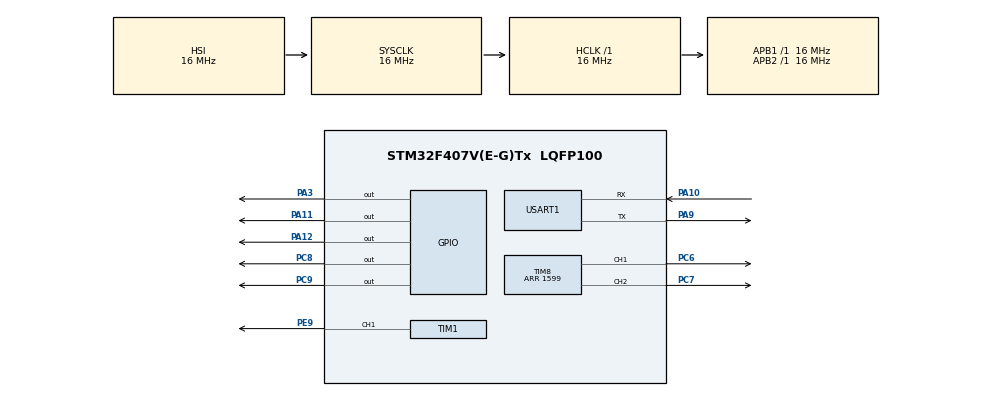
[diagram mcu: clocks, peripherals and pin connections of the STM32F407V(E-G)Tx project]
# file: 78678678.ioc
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Mcu.Family=STM32F4
Mcu.Name=STM32F407V(E-G)Tx
Mcu.Package=LQFP100
NVIC.PriorityGroup=NVIC_PRIORITYGROUP_4
NVIC.USART1_IRQn=true\:0\:0\:false\:false\:true\:true\:true\:true
PA10.Mode=Asynchronous
PA10.Signal=USART1_RX
PA11.Signal=GPIO_Output
PA12.Signal=GPIO_Output
PA13.Mode=Serial_Wire
PA13.Signal=SYS_JTMS-SWDIO
PA14.Mode=Serial_Wire
PA14.Signal=SYS_JTCK-SWCLK
PA3.Signal=GPIO_Output
PA9.Mode=Asynchronous
PA9.Signal=USART1_TX
PC6.Signal=S_TIM8_CH1
PC7.Signal=S_TIM8_CH2
PC8.Signal=GPIO_Output
PC9.Signal=GPIO_Output
PE9.Signal=S_TIM1_CH1
ProjectManager.HeapSize=0x200
ProjectManager.StackSize=0x400
ProjectManager.TargetToolchain=MDK-ARM V5.32
RCC.AHBFreq_Value=16000000
RCC.APB1Freq_Value=16000000
RCC.APB2Freq_Value=16000000
RCC.CortexFreq_Value=16000000
RCC.HSE_VALUE=25000000
RCC.HSI_VALUE=16000000
RCC.LSE_VALUE=32768
RCC.SYSCLKFreq_VALUE=16000000
RCC.VCOOutputFreq_Value=192000000
SH.S_TIM1_CH1.0=TIM1_CH1,PWM Generation1 CH1
SH.S_TIM8_CH1.0=TIM8_CH1,PWM Generation1 CH1
SH.S_TIM8_CH2.0=TIM8_CH2,PWM Generation2 CH2
TIM1.AutoReloadPreload=TIM_AUTORELOAD_PRELOAD_ENABLE
TIM1.Channel-PWM\ Generation1\ CH1=TIM_CHANNEL_1
TIM1.Period=19999
TIM1.Prescaler=15
TIM8.AutoReloadPreload=TIM_AUTORELOAD_PRELOAD_ENABLE
TIM8.Channel-PWM\ Generation1\ CH1=TIM_CHANNEL_1
TIM8.Channel-PWM\ Generation2\ CH2=TIM_CHANNEL_2
TIM8.Period=1599
USART1.VirtualMode=VM_ASYNC
VP_TIM1_VS_ClockSourceINT.Mode=Internal
VP_TIM8_VS_ClockSourceINT.Mode=Internal
board=custom

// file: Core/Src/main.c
/* USER CODE BEGIN Header */
/**
  ******************************************************************************
  * @file           : main.c
  * @brief          : STM32F4 car controller with text and 0x42 binary protocols
  ******************************************************************************
  * Binary protocol: 0x42 header + address + total length + payload + checksum
  * Car control: ADDR=1, total length=10 (header/address/length/speed/servo/checksum)
  * Heartbeat: ADDR=0, total length=4
  ******************************************************************************
  */
/* USER CODE END Header */
#include "main.h"

/* USER CODE BEGIN Includes */
#include <stdio.h>
#include <stdlib.h>
#include <string.h>
/* USER CODE END Includes */

/* USER CODE BEGIN PTD */
#define USB_FRAME_HEAD     0x42
#define USB_FRAME_LENMIN   4
#define USB_FRAME_LENMAX   12
#define USB_ADDR_CARCTRL   1
#define USB_ADDR_BUZZER    4
#define USB_ADDR_HEART     0

typedef struct
{
    uint8_t recvStart;
    uint8_t index;
    uint8_t rxBuf[USB_FRAME_LENMAX];
}SerialFrame_t;

// Byte conversion helpers for 32-bit and 16-bit values
typedef union{
    uint8_t buff[4];
    float   f32;
    int32_t i32;
}Bit32Union_t;

typedef union{
    uint8_t buff[2];
    uint16_t u16;
    int16_t  i16;
}Bit16Union_t;
/* USER CODE END PTD */

/* USER CODE BEGIN PD */
#define MAX_SPEED_PERCENT 100
#define PWM_TIM8_PERIOD   1600
#define PWM_TIM1_PERIOD   20000
#define SERVO_MIN_PULSE   500
#define SERVO_MAX_PULSE   2500
#define UART_TX_DELAY     100
#define UART_RX_QUEUE_SIZE 128

#define STEER_INPUT_MIN  -50
#define STEER_INPUT_MAX   50
#define SERVO_ANG_LEFT_LIMIT  140
#define SERVO_ANG_RIGHT_LIMIT 40
#define SERVO_ANG_MID         90
/* USER CODE END PD */

TIM_HandleTypeDef htim1;
TIM_HandleTypeDef htim8;

UART_HandleTypeDef huart1;

/* USER CODE BEGIN PV */
// Text M/T command buffer
uint8_t rx_buffer[32];
uint8_t rx_index = 0;
uint8_t rx_data;
volatile uint8_t uart_rx_queue[UART_RX_QUEUE_SIZE];
volatile uint16_t uart_rx_head = 0;
volatile uint16_t uart_rx_tail = 0;
volatile uint8_t uart_rx_overflow = 0;

// Binary frame parser state
SerialFrame_t serialFrame;

// Current car state
int16_t current_speed = 0;
int16_t current_steer_input = 0;
uint16_t current_angle = 90;
uint16_t servoPwmSet = 1500;

// Motor driver pins
#define LEFT_MOTOR_IN1_PIN  GPIO_PIN_11
#define LEFT_MOTOR_IN2_PIN  GPIO_PIN_12
#define LEFT_MOTOR_IN1_PORT GPIOA
#define LEFT_MOTOR_IN2_PORT GPIOA

#define RIGHT_MOTOR_IN1_PIN  GPIO_PIN_8
#define RIGHT_MOTOR_IN2_PIN  GPIO_PIN_9
#define RIGHT_MOTOR_IN1_PORT GPIOC
#define RIGHT_MOTOR_IN2_PORT GPIOC

// PWM channels
#define LEFT_PWM_CHANNEL   TIM_CHANNEL_1
#define RIGHT_PWM_CHANNEL  TIM_CHANNEL_2
#define SERVO_PWM_CHANNEL  TIM_CHANNEL_1

// Startup message
uint8_t init_ok_msg[] = "\r\n==== Car Init OK ====\r\nText Cmd:Mxx/Txx\r\nBinary Frame Head=0x42\r\nTest Frame:42 01 0A 00 00 00 00 DC 05 00\r\n";
/* USER CODE END PV */

void SystemClock_Config(void);
static void MX_GPIO_Init(void);
static void MX_TIM1_Init(void);
static void MX_TIM8_Init(void);
static void MX_USART1_UART_Init(void);
/* USER CODE BEGIN PFP */
void set_motor_speed(int16_t speed_percent);
void set_servo_steer(int16_t steer_val);
void set_servo_by_pwm(uint16_t pwmUs);
void process_command(char *cmd);
void SerialFrameParse(uint8_t byte);
void FrameDataHandle(void);
void process_received_byte(uint8_t byte);
void reset_protocol_parsers(void);
/* USER CODE END PFP */

/* USER CODE BEGIN 0 */
void set_motor_speed(int16_t speed_percent)
{
    if (speed_percent > MAX_SPEED_PERCENT) speed_percent = MAX_SPEED_PERCENT;
    if (speed_percent < -MAX_SPEED_PERCENT) speed_percent = -MAX_SPEED_PERCENT;
    uint16_t duty = (uint16_t)(abs(speed_percent) * (PWM_TIM8_PERIOD - 1) / MAX_SPEED_PERCENT);

    if (speed_percent > 0)
    {
        HAL_GPIO_WritePin(LEFT_MOTOR_IN1_PORT, LEFT_MOTOR_IN1_PIN, GPIO_PIN_SET);
        HAL_GPIO_WritePin(LEFT_MOTOR_IN2_PORT, LEFT_MOTOR_IN2_PIN, GPIO_PIN_RESET);
        HAL_GPIO_WritePin(RIGHT_MOTOR_IN1_PORT, RIGHT_MOTOR_IN1_PIN, GPIO_PIN_SET);
        HAL_GPIO_WritePin(RIGHT_MOTOR_IN2_PORT, RIGHT_MOTOR_IN2_PIN, GPIO_PIN_RESET);
    }
    else if (speed_percent < 0)
    {
        HAL_GPIO_WritePin(LEFT_MOTOR_IN1_PORT, LEFT_MOTOR_IN1_PIN, GPIO_PIN_RESET);
        HAL_GPIO_WritePin(LEFT_MOTOR_IN2_PORT, LEFT_MOTOR_IN2_PIN, GPIO_PIN_SET);
        HAL_GPIO_WritePin(RIGHT_MOTOR_IN1_PORT, RIGHT_MOTOR_IN1_PIN, GPIO_PIN_RESET);
        HAL_GPIO_WritePin(RIGHT_MOTOR_IN2_PORT, RIGHT_MOTOR_IN2_PIN, GPIO_PIN_SET);
    }
    else
    {
        HAL_GPIO_WritePin(LEFT_MOTOR_IN1_PORT, LEFT_MOTOR_IN1_PIN, GPIO_PIN_RESET);
        HAL_GPIO_WritePin(LEFT_MOTOR_IN2_PORT, LEFT_MOTOR_IN2_PIN, GPIO_PIN_RESET);
        HAL_GPIO_WritePin(RIGHT_MOTOR_IN1_PORT, RIGHT_MOTOR_IN1_PIN, GPIO_PIN_RESET);
        HAL_GPIO_WritePin(RIGHT_MOTOR_IN2_PORT, RIGHT_MOTOR_IN2_PIN, GPIO_PIN_RESET);
    }

    __HAL_TIM_SET_COMPARE(&htim8, LEFT_PWM_CHANNEL, duty);
    __HAL_TIM_SET_COMPARE(&htim8, RIGHT_PWM_CHANNEL, duty);
    current_speed = speed_percent;
}

void set_servo_steer(int16_t steer_val)
{
    if (steer_val < STEER_INPUT_MIN) steer_val = STEER_INPUT_MIN;
    if (steer_val > STEER_INPUT_MAX) steer_val = STEER_INPUT_MAX;
    int32_t delta_input = steer_val - STEER_INPUT_MIN;
    int32_t total_input_range = STEER_INPUT_MAX - STEER_INPUT_MIN;
    int32_t total_angle_range = SERVO_ANG_LEFT_LIMIT - SERVO_ANG_RIGHT_LIMIT;
    uint16_t angle = SERVO_ANG_LEFT_LIMIT - (delta_input * total_angle_range) / total_input_range;
    if (angle > SERVO_ANG_LEFT_LIMIT) angle = SERVO_ANG_LEFT_LIMIT;
    if (angle < SERVO_ANG_RIGHT_LIMIT) angle = SERVO_ANG_RIGHT_LIMIT;

    uint16_t pulse = SERVO_MIN_PULSE + (uint16_t)((uint32_t)angle * (SERVO_MAX_PULSE - SERVO_MIN_PULSE) / 180);
    if (pulse > PWM_TIM1_PERIOD) pulse = PWM_TIM1_PERIOD;
    __HAL_TIM_SET_COMPARE(&htim1, SERVO_PWM_CHANNEL, pulse);
    current_steer_input = steer_val;
    current_angle = angle;
    servoPwmSet = pulse;
}

void set_servo_by_pwm(uint16_t pwmUs)
{
    if(pwmUs < SERVO_MIN_PULSE) pwmUs = SERVO_MIN_PULSE;
    if(pwmUs > SERVO_MAX_PULSE) pwmUs = SERVO_MAX_PULSE;
    servoPwmSet = pwmUs;
    __HAL_TIM_SET_COMPARE(&htim1, SERVO_PWM_CHANNEL, pwmUs);
    current_angle = (uint16_t)((uint32_t)(pwmUs - SERVO_MIN_PULSE) * 180 / (SERVO_MAX_PULSE - SERVO_MIN_PULSE));
}

void process_command(char *cmd)
{
    while (*cmd == ' ') cmd++;
    if (*cmd == '\0') return;
    char echo_buf[128] = {0};

    if (cmd[0] == 'M' || cmd[0] == 'm')
    {
        int16_t speed = atoi(cmd + 1);
        set_motor_speed(speed);
        uint16_t duty = abs(current_speed)*(PWM_TIM8_PERIOD-1)/100;
        sprintf(echo_buf, "[TEXT OK] Speed=%d%% PWM=%d\r\n", current_speed, duty);
        HAL_UART_Transmit(&huart1, (uint8_t *)echo_buf, strlen(echo_buf), UART_TX_DELAY);
    }
    else if (cmd[0] == 'T' || cmd[0] == 't')
    {
        int16_t steer_in = atoi(cmd + 1);
        set_servo_steer(steer_in);
        sprintf(echo_buf, "[TEXT OK] SteerIn=%d Angle=%d PWM=%dus\r\n", current_steer_input, current_angle, servoPwmSet);
        HAL_UART_Transmit(&huart1, (uint8_t *)echo_buf, strlen(echo_buf), UART_TX_DELAY);
    }
    else
    {
        strcpy(echo_buf, "[ERR Cmd Use Mxx/Txx\r\n");
        HAL_UART_Transmit(&huart1, (uint8_t *)echo_buf, strlen(echo_buf), UART_TX_DELAY);
    }
}

/**
 * @brief Binary frame parser; rxBuf[2] is the total frame length
 */
void reset_protocol_parsers(void)
{
    rx_index = 0;
    serialFrame.recvStart = 0;
    serialFrame.index = 0;
    memset(serialFrame.rxBuf, 0, sizeof(serialFrame.rxBuf));
}

void process_received_byte(uint8_t byte)
{
    if(serialFrame.recvStart || byte == USB_FRAME_HEAD)
    {
        SerialFrameParse(byte);
        return;
    }

    if(rx_index >= sizeof(rx_buffer) - 1)
    {
        rx_index = 0;
    }

    if(byte == '\r' || byte == '\n')
    {
        if(rx_index > 0)
        {
            rx_buffer[rx_index] = 0;
            process_command((char *)rx_buffer);
        }
        rx_index = 0;
    }
    else
    {
        rx_buffer[rx_index++] = byte;
    }
}
void SerialFrameParse(uint8_t byte)
{
    // Debug output intentionally disabled
    // char debugBuf[80];
    // sprintf(debugBuf, "[DBG Byte:0x%02X]\r\n", byte);
    // HAL_UART_Transmit(&huart1, (uint8_t *)debugBuf, strlen(debugBuf), UART_TX_DELAY);

    uint8_t totalFrameLen;
    if(!serialFrame.recvStart)
    {
        if(byte == USB_FRAME_HEAD)
        {
            serialFrame.recvStart = 1;
            serialFrame.index = 0;
            serialFrame.rxBuf[serialFrame.index++] = byte;
        }
        return;
    }

    if(serialFrame.index >= USB_FRAME_LENMAX)
    {
        serialFrame.recvStart = 0;
        serialFrame.index = 0;
        memset(serialFrame.rxBuf,0,USB_FRAME_LENMAX);
        return;
    }

    serialFrame.rxBuf[serialFrame.index++] = byte;

    if(serialFrame.index >= 3)
    {
        totalFrameLen = serialFrame.rxBuf[2];
        if(totalFrameLen > USB_FRAME_LENMAX || totalFrameLen < USB_FRAME_LENMIN)
        {
            serialFrame.recvStart = 0;
            serialFrame.index = 0;
            memset(serialFrame.rxBuf,0,USB_FRAME_LENMAX);
            return;
        }
        if(serialFrame.index >= totalFrameLen)
        {
            uint8_t checkSum = 0;
            for(uint8_t i=0; i < totalFrameLen-1; i++)
                checkSum += serialFrame.rxBuf[i];
            if(checkSum == serialFrame.rxBuf[totalFrameLen-1])
            {
                FrameDataHandle();
            }
            else
            {
                // Report checksum errors
                char debugBuf[80];
                sprintf(debugBuf,"[ERR CheckSum Calc:0x%02X Rx:0x%02X]\r\n",checkSum,serialFrame.rxBuf[totalFrameLen-1]);
                HAL_UART_Transmit(&huart1, (uint8_t *)debugBuf, strlen(debugBuf), UART_TX_DELAY);
            }
            serialFrame.recvStart = 0;
            serialFrame.index = 0;
            memset(serialFrame.rxBuf,0,USB_FRAME_LENMAX);
        }
    }
}
/**
 * @brief Handle one validated binary frame
 */
void FrameDataHandle(void)
{
    uint8_t addr = serialFrame.rxBuf[1];
    uint8_t frameLen = serialFrame.rxBuf[2];
    char txBuf[128] = {0};
    Bit32Union_t speedUnion;
    Bit16Union_t servoUnion;
    float speedMps;
    int16_t motorPercent;

    switch(addr)
    {
        case USB_ADDR_CARCTRL:
            if(frameLen != 10)
            {
                sprintf(txBuf, "[BIN ERR] Car frame length=%u, expected=10\r\n", frameLen);
                HAL_UART_Transmit(&huart1, (uint8_t *)txBuf, strlen(txBuf), UART_TX_DELAY);
                break;
            }
            // Payload starts at index 3: 4-byte speed and 2-byte servo value
            memcpy(speedUnion.buff, &serialFrame.rxBuf[3], 4);
            memcpy(servoUnion.buff, &serialFrame.rxBuf[7], 2);
            speedMps = speedUnion.f32;
            if(speedMps > 1.0f) speedMps = 1.0f;
            if(speedMps < -1.0f) speedMps = -1.0f;
            motorPercent = (int16_t)(speedMps * 100.0f);
            set_motor_speed(motorPercent);
            set_servo_by_pwm(servoUnion.u16);
            sprintf(txBuf,"[BIN OK] Spd=%.2fm/s Motor=%d%% Servo=%dus Angle=%d deg\r\n",
                speedMps,motorPercent,servoUnion.u16,current_angle);
            HAL_UART_Transmit(&huart1, (uint8_t *)txBuf, strlen(txBuf), UART_TX_DELAY);
            break;
        case USB_ADDR_HEART:
            if(frameLen != 4)
            {
                sprintf(txBuf, "[BIN ERR] Heart frame length=%u, expected=4\r\n", frameLen);
                HAL_UART_Transmit(&huart1, (uint8_t *)txBuf, strlen(txBuf), UART_TX_DELAY);
                break;
            }
            strcpy(txBuf,"[BIN Heart Recv]\r\n");
            HAL_UART_Transmit(&huart1, (uint8_t *)txBuf, strlen(txBuf), UART_TX_DELAY);
            break;
        default:
            sprintf(txBuf,"[BIN Unknown ADDR:%d]\r\n",addr);
            HAL_UART_Transmit(&huart1, (uint8_t *)txBuf, strlen(txBuf), UART_TX_DELAY);
            break;
    }
}
/* USER CODE END 0 */

int main(void)
{

  /* USER CODE BEGIN 1 */
  memset(&serialFrame,0,sizeof(SerialFrame_t));
  /* USER CODE END 1 */

  /* MCU Configuration--------------------------------------------------------*/

  /* Reset of all peripherals, Initializes the Flash interface and the Systick. */
  HAL_Init();

  /* Configure the system clock */
  SystemClock_Config();

  /* Initialize all configured peripherals */
  MX_GPIO_Init();
  MX_TIM1_Init();
  MX_TIM8_Init();
  MX_USART1_UART_Init();
  /* USER CODE BEGIN 2 */
  HAL_TIM_PWM_Start(&htim1, SERVO_PWM_CHANNEL);
  HAL_TIM_PWM_Start(&htim8, LEFT_PWM_CHANNEL);
  HAL_TIM_PWM_Start(&htim8, RIGHT_PWM_CHANNEL);
  set_motor_speed(0);
  set_servo_by_pwm(1500);
  HAL_UART_Transmit(&huart1, init_ok_msg, sizeof(init_ok_msg)-1, UART_TX_DELAY);
  // Start one-byte interrupt-driven reception
  HAL_UART_Receive_IT(&huart1, &rx_data, 1);
  /* USER CODE END 2 */

  /* Infinite loop */
  while (1)
  {

/* USER CODE BEGIN 3 */
    if(uart_rx_overflow)
    {
      __disable_irq();
      uart_rx_tail = uart_rx_head;
      uart_rx_overflow = 0;
      __enable_irq();
      reset_protocol_parsers();
      const char overflowMsg[] = "[ERR UART RX overflow]\r\n";
      HAL_UART_Transmit(&huart1, (uint8_t *)overflowMsg, sizeof(overflowMsg) - 1, UART_TX_DELAY);
    }
    while(uart_rx_tail != uart_rx_head)
    {
      uint8_t byte = uart_rx_queue[uart_rx_tail];
      uart_rx_tail = (uint16_t)((uart_rx_tail + 1U) % UART_RX_QUEUE_SIZE);
      process_received_byte(byte);
    }
  /* USER CODE END 3 */
  }
}

void SystemClock_Config(void)
{
  RCC_OscInitTypeDef RCC_OscInitStruct = {0};
  RCC_ClkInitTypeDef RCC_ClkInitStruct = {0};

  /** Configure the main internal regulator output voltage
  */
  __HAL_RCC_PWR_CLK_ENABLE();
  __HAL_PWR_VOLTAGESCALING_CONFIG(PWR_REGULATOR_VOLTAGE_SCALE1);

  /** Initializes the RCC Oscillators according to the specified parameters
  * in the RCC_OscInitTypeDef structure.
  */
  RCC_OscInitStruct.OscillatorType = RCC_OSCILLATORTYPE_HSI;
  RCC_OscInitStruct.HSIState = RCC_HSI_ON;
  RCC_OscInitStruct.HSICalibrationValue = RCC_HSICALIBRATION_DEFAULT;
  RCC_OscInitStruct.PLL.PLLState = RCC_PLL_NONE;
  if (HAL_RCC_OscConfig(&RCC_OscInitStruct) != HAL_OK)
  {
    Error_Handler();
  }

  /** Initializes the CPU, AHB and APB buses clocks
  */
  RCC_ClkInitStruct.ClockType = RCC_CLOCKTYPE_HCLK|RCC_CLOCKTYPE_SYSCLK
                              |RCC_CLOCKTYPE_PCLK1|RCC_CLOCKTYPE_PCLK2;
  RCC_ClkInitStruct.SYSCLKSource = RCC_SYSCLKSOURCE_HSI;
  RCC_ClkInitStruct.AHBCLKDivider = RCC_SYSCLK_DIV1;
  RCC_ClkInitStruct.APB1CLKDivider = RCC_HCLK_DIV1;
  RCC_ClkInitStruct.APB2CLKDivider = RCC_HCLK_DIV1;

  if (HAL_RCC_ClockConfig(&RCC_ClkInitStruct, FLASH_LATENCY_0) != HAL_OK)
  {
    Error_Handler();
  }
}

static void MX_TIM1_Init(void)
{

  TIM_ClockConfigTypeDef sClockSourceConfig = {0};
  TIM_MasterConfigTypeDef sMasterConfig = {0};
  TIM_OC_InitTypeDef sConfigOC = {0};
  TIM_BreakDeadTimeConfigTypeDef sBreakDeadTimeConfig = {0};

  htim1.Instance = TIM1;
  htim1.Init.Prescaler = 15;
  htim1.Init.CounterMode = TIM_COUNTERMODE_UP;
  htim1.Init.Period = 19999;
  htim1.Init.ClockDivision = TIM_CLOCKDIVISION_DIV1;
  htim1.Init.RepetitionCounter = 0;
  htim1.Init.AutoReloadPreload = TIM_AUTORELOAD_PRELOAD_ENABLE;
  if (HAL_TIM_Base_Init(&htim1) != HAL_OK)
  {
    Error_Handler();
  }
  sClockSourceConfig.ClockSource = TIM_CLOCKSOURCE_INTERNAL;
  if (HAL_TIM_ConfigClockSource(&htim1, &sClockSourceConfig) != HAL_OK)
  {
    Error_Handler();
  }
  if (HAL_TIM_PWM_Init(&htim1) != HAL_OK)
  {
    Error_Handler();
  }
  sMasterConfig.MasterOutputTrigger = TIM_TRGO_RESET;
  sMasterConfig.MasterSlaveMode = TIM_MASTERSLAVEMODE_DISABLE;
  if (HAL_TIMEx_MasterConfigSynchronization(&htim1, &sMasterConfig) != HAL_OK)
  {
    Error_Handler();
  }
  sConfigOC.OCMode = TIM_OCMODE_PWM1;
  sConfigOC.Pulse = 0;
  sConfigOC.OCPolarity = TIM_OCPOLARITY_HIGH;
  sConfigOC.OCNPolarity = TIM_OCNPOLARITY_HIGH;
  sConfigOC.OCFastMode = TIM_OCFAST_DISABLE;
  sConfigOC.OCIdleState = TIM_OCIDLESTATE_RESET;
  sConfigOC.OCNIdleState = TIM_OCNIDLESTATE_RESET;
  if (HAL_TIM_PWM_ConfigChannel(&htim1, &sConfigOC, TIM_CHANNEL_1) != HAL_OK)
  {
    Error_Handler();
  }
  sBreakDeadTimeConfig.OffStateRunMode = TIM_OSSR_DISABLE;
  sBreakDeadTimeConfig.OffStateIDLEMode = TIM_OSSI_DISABLE;
  sBreakDeadTimeConfig.LockLevel = TIM_LOCKLEVEL_OFF;
  sBreakDeadTimeConfig.DeadTime = 0;
  sBreakDeadTimeConfig.BreakState = TIM_BREAK_DISABLE;
  sBreakDeadTimeConfig.BreakPolarity = TIM_BREAKPOLARITY_HIGH;
  sBreakDeadTimeConfig.AutomaticOutput = TIM_AUTOMATICOUTPUT_DISABLE;
  if (HAL_TIMEx_ConfigBreakDeadTime(&htim1, &sBreakDeadTimeConfig) != HAL_OK)
  {
    Error_Handler();
  }
  HAL_TIM_MspPostInit(&htim1);

}

static void MX_TIM8_Init(void)
{

  TIM_ClockConfigTypeDef sClockSourceConfig = {0};
  TIM_MasterConfigTypeDef sMasterConfig = {0};
  TIM_OC_InitTypeDef sConfigOC = {0};
  TIM_BreakDeadTimeConfigTypeDef sBreakDeadTimeConfig = {0};

  htim8.Instance = TIM8;
  htim8.Init.Prescaler = 0;
  htim8.Init.CounterMode = TIM_COUNTERMODE_UP;
  htim8.Init.Period = 1599;
  htim8.Init.ClockDivision = TIM_CLOCKDIVISION_DIV1;
  htim8.Init.RepetitionCounter = 0;
  htim8.Init.AutoReloadPreload = TIM_AUTORELOAD_PRELOAD_ENABLE;
  if (HAL_TIM_Base_Init(&htim8) != HAL_OK)
  {
    Error_Handler();
  }
  sClockSourceConfig.ClockSource = TIM_CLOCKSOURCE_INTERNAL;
  if (HAL_TIM_ConfigClockSource(&htim8, &sClockSourceConfig) != HAL_OK)
  {
    Error_Handler();
  }
  if (HAL_TIM_PWM_Init(&htim8) != HAL_OK)
  {
    Error_Handler();
  }
  sMasterConfig.MasterOutputTrigger = TIM_TRGO_RESET;
  sMasterConfig.MasterSlaveMode = TIM_MASTERSLAVEMODE_DISABLE;
  if (HAL_TIMEx_MasterConfigSynchronization(&htim8, &sMasterConfig) != HAL_OK)
  {
    Error_Handler();
  }
  sConfigOC.OCMode = TIM_OCMODE_PWM1;
  sConfigOC.Pulse = 0;
  sConfigOC.OCPolarity = TIM_OCPOLARITY_HIGH;
  sConfigOC.OCNPolarity = TIM_OCNPOLARITY_HIGH;
  sConfigOC.OCFastMode = TIM_OCFAST_DISABLE;
  sConfigOC.OCIdleState = TIM_OCIDLESTATE_RESET;
  sConfigOC.OCNIdleState = TIM_OCNIDLESTATE_RESET;
  if (HAL_TIM_PWM_ConfigChannel(&htim8, &sConfigOC, TIM_CHANNEL_1) != HAL_OK)
  {
    Error_Handler();
  }
  if (HAL_TIM_PWM_ConfigChannel(&htim8, &sConfigOC, TIM_CHANNEL_2) != HAL_OK)
  {
    Error_Handler();
  }
  sBreakDeadTimeConfig.OffStateRunMode = TIM_OSSR_DISABLE;
  sBreakDeadTimeConfig.OffStateIDLEMode = TIM_OSSI_DISABLE;
  sBreakDeadTimeConfig.LockLevel = TIM_LOCKLEVEL_OFF;
  sBreakDeadTimeConfig.DeadTime = 0;
  sBreakDeadTimeConfig.BreakState = TIM_BREAK_DISABLE;
  sBreakDeadTimeConfig.BreakPolarity = TIM_BREAKPOLARITY_HIGH;
  sBreakDeadTimeConfig.AutomaticOutput = TIM_AUTOMATICOUTPUT_DISABLE;
  if (HAL_TIMEx_ConfigBreakDeadTime(&htim8, &sBreakDeadTimeConfig) != HAL_OK)
  {
    Error_Handler();
  }
  HAL_TIM_MspPostInit(&htim8);

}

static void MX_USART1_UART_Init(void)
{

  huart1.Instance = USART1;
  huart1.Init.BaudRate = 115200;
  huart1.Init.WordLength = UART_WORDLENGTH_8B;
  huart1.Init.StopBits = UART_STOPBITS_1;
  huart1.Init.Parity = UART_PARITY_NONE;
  huart1.Init.Mode = UART_MODE_TX_RX;
  huart1.Init.HwFlowCtl = UART_HWCONTROL_NONE;
  huart1.Init.OverSampling = UART_OVERSAMPLING_16;
  if (HAL_UART_Init(&huart1) != HAL_OK)
  {
    Error_Handler();
  }

}

static void MX_GPIO_Init(void)
{
  GPIO_InitTypeDef GPIO_InitStruct = {0};

  /* GPIO Ports Clock Enable */
  __HAL_RCC_GPIOA_CLK_ENABLE();
  __HAL_RCC_GPIOE_CLK_ENABLE();
  __HAL_RCC_GPIOC_CLK_ENABLE();

  /*Configure GPIO pin Output Level */
  HAL_GPIO_WritePin(GPIOA, GPIO_PIN_3|GPIO_PIN_11|GPIO_PIN_12, GPIO_PIN_RESET);

  /*Configure GPIO pin Output Level */
  HAL_GPIO_WritePin(GPIOC, GPIO_PIN_8|GPIO_PIN_9, GPIO_PIN_RESET);

  /*Configure GPIO pins : PA3 PA11 PA12 */
  GPIO_InitStruct.Pin = GPIO_PIN_3|GPIO_PIN_11|GPIO_PIN_12;
  GPIO_InitStruct.Mode = GPIO_MODE_OUTPUT_PP;
  GPIO_InitStruct.Pull = GPIO_NOPULL;
  GPIO_InitStruct.Speed = GPIO_SPEED_FREQ_LOW;
  HAL_GPIO_Init(GPIOA, &GPIO_InitStruct);

  /*Configure GPIO pins : PC8 PC9 */
  GPIO_InitStruct.Pin = GPIO_PIN_8|GPIO_PIN_9;
  GPIO_InitStruct.Mode = GPIO_MODE_OUTPUT_PP;
  GPIO_InitStruct.Pull = GPIO_NOPULL;
  GPIO_InitStruct.Speed = GPIO_SPEED_FREQ_LOW;
  HAL_GPIO_Init(GPIOC, &GPIO_InitStruct);

}

/* USER CODE BEGIN 4 */
void HAL_UART_RxCpltCallback(UART_HandleTypeDef *huart)
{
  if(huart->Instance == USART1)
  {
    uint16_t nextHead = (uint16_t)((uart_rx_head + 1U) % UART_RX_QUEUE_SIZE);
    if(nextHead != uart_rx_tail)
    {
      uart_rx_queue[uart_rx_head] = rx_data;
      uart_rx_head = nextHead;
    }
    else uart_rx_overflow = 1;
    HAL_UART_Receive_IT(&huart1, &rx_data, 1);
  }
}

void HAL_UART_ErrorCallback(UART_HandleTypeDef *huart)
{
  if(huart->Instance == USART1)
  {
    __HAL_UART_CLEAR_OREFLAG(huart);
    HAL_UART_Receive_IT(&huart1, &rx_data, 1);
  }
}
/* USER CODE END 4 */

void Error_Handler(void)
{
  __disable_irq();
  while (1)
  {
  }
}
